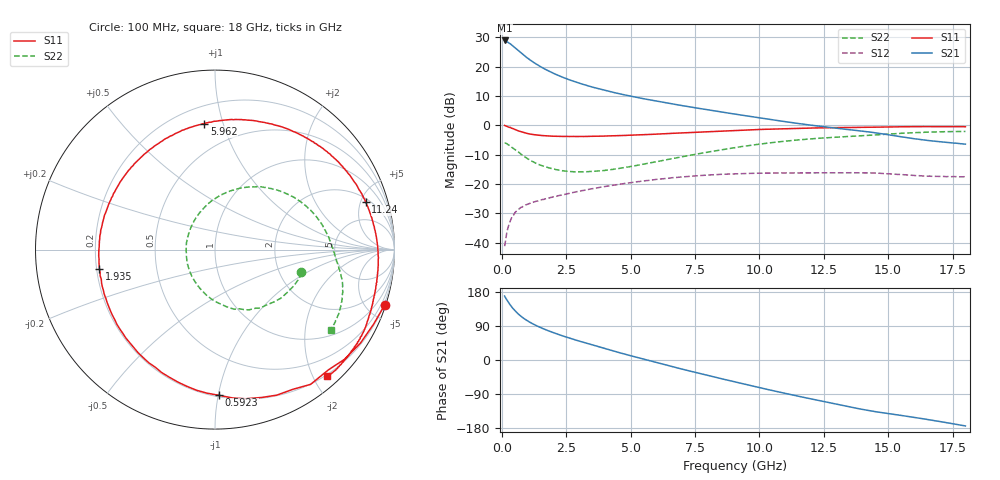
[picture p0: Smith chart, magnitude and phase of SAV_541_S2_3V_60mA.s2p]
! Data provided by Modelithics, Inc.  Tampa, Florida USA, June 2008
!Model SAV-541+
!VAR V_out= 3
!VAR I_out= 60
!VAR V_in= 0.4652
!VAR I_in= 1.0123
!BEGIN ACDATA
# GHZ S MA R 50
! Scattering Parameters
!% F n11x n11y n21x n21y n12x n12y n22x n22y
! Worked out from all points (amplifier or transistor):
!   401 points, 100 MHz to 18 GHz, reference 50 ohm
!   highest |S21| = 28.9 dB at 100 MHz (marker M1)
!   |S21| within 3 dB of that: start of sweep to 571.2 MHz
!   unconditionally stable (mu >= 1): 3.764 GHz to 10.34 GHz; 10.36 GHz to 10.58 GHz
!   at 3.054 GHz: K = 0.94, MSG = 18.3 dB, |S12| = -22.4 dB
!   at 9.05 GHz: K = 1.04, MAG = 9.0 dB, |S12| = -16.6 dB
!   at 18 GHz: K = 0.91, MSG = 5.6 dB, |S12| = -17.6 dB
!   lowest NFmin = 0.08 dB at 500 MHz
!   S11 on the Smith chart (normalised r, x): 100 MHz: 0.12, -6.25; 592.2 MHz: 0.21, -1.01; 1.935 GHz: 0.21, -0.08; 5.962 GHz: 0.31, +0.87; 11.24 GHz: 2.36, +5.54; 18 GHz: 0.17, -2.21
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0.1  0.9941 -18.2  27.85 168.7  0.00871 78.4  0.497 -14.8
0.1895  0.9635 -32.8  26.39 158.5  0.0154 73.2  0.4837 -24.6
0.279  0.921 -46.7  24.98 149.0  0.02116 69.1  0.4564 -36.3
0.3685  0.8913 -60.8  23.46 140.7  0.02639 61.2  0.4231 -46.4
0.458  0.864 -72.4  21.76 133.5  0.0298 56.2  0.3977 -55.1
0.59225  0.8122 -88.4  19.32 124.0  0.03542 50.4  0.3564 -67.6
0.68175  0.7903 -97.5  17.92 118.4  0.03816 47.4  0.337 -75.3
0.816  0.755 -109.8  15.98 111.2  0.04144 43.2  0.3026 -84.8
0.95025  0.7305 -120.3  14.37 105.0  0.04432 40.2  0.2778 -93.7
1.12925  0.7031 -132.3  12.6 97.8  0.04769 37.8  0.2481 -104.3
1.48725  0.6715 -151.9  10.01 85.9  0.05274 33.8  0.2098 -122.2
1.93475  0.6526 -170.7  7.909 73.6  0.05928 30.1  0.1828 -141.9
2.47175  0.6442 171.8  6.277 61.1  0.06698 26.8  0.1654 -162.4
3.09825  0.6435 154.5  5.051 47.8  0.07689 22.1  0.1605 176.4
4.396  0.6626 124.9  3.571 22.4  0.09629 10.9  0.1796 139.8
5.96225  0.7038 94.8  2.593 -6.2  0.1192 -5.5  0.2376 105.9
6.0965  0.7104 92.6  2.534 -8.4  0.1206 -6.9  0.2438 103.6
9.05  0.8123 46.9  1.547 -57.7  0.1487 -41.1  0.4157 57.3
11.24275  0.8804 17.4  1.112 -91.7  0.1541 -67.0  0.5485 28.7
12.04825  0.896 7.6  0.9976 -103.3  0.1545 -76.3  0.5884 19.2
15.0465  0.9344 -23.4  0.6846 -141.8  0.1489 -106.8  0.7087 -10.2
18  0.9436 -48.4  0.4765 -174.0  0.1319 -131.7  0.7849 -34.7
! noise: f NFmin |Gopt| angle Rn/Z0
0.5  0.076  0.3115  26.6  0.054
0.7  0.109  0.3151  38.07  0.048
0.9  0.141  0.319  49.32  0.043
1  0.158  0.3211  54.87  0.04
1.9  0.304  0.3438  102.3  0.029
2.4  0.385  0.3594  126.8  0.029
3  0.482  0.3809  154.3  0.036
3.9  0.629  0.419  -168.1  0.06
5  0.807  0.4749  -128.2  0.111
6  0.97  0.5347  -97.59  0.177
